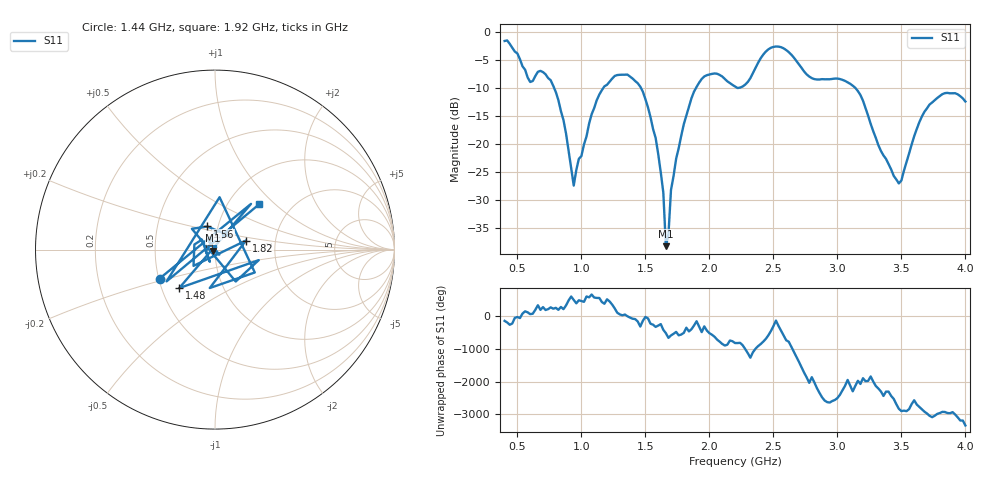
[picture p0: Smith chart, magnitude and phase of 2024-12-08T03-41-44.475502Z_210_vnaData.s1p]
!Created with skrf (http://scikit-rf.org).
# Hz S RI R 50.0
!freq ReS11 ImS11
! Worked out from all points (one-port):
!   181 points, 400 MHz to 4 GHz, reference 50 ohm
!   lowest |S11| = -38.2 dB at 1.66 GHz (marker M1), VSWR 1.02, Z = 48.9 - j0.577 ohm
!   |S11| at or under -10 dB: 786.6 MHz to 1.172 GHz (385.1 MHz wide, 39.3 % of centre); 1.465 GHz to 1.896 GHz (430.8 MHz wide, 25.6 % of centre); 3.14 GHz to end of sweep (the widest 3 of 4)
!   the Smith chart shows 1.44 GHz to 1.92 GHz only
!   S11 on the Smith chart (normalised r, x): 1.44 GHz: 0.51, -0.19; 1.48 GHz: 0.62, -0.29; 1.56 GHz: 0.89, +0.23; 1.82 GHz: 1.41, +0.15; 1.92 GHz: 1.38, +0.80
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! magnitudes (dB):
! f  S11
! 400 MHz  -1.6
! 600 MHz  -9.0
! 680 MHz  -7.0
! 760 MHz  -8.6
! 860 MHz  -15.7
! 940 MHz  -27.4
! 1.12 GHz  -12.2
! 1.3 GHz  -7.7
! 1.44 GHz  -9.2
! 1.48 GHz  -10.7
! 1.56 GHz  -17.3
! 1.64 GHz  -28.7
! 1.66 GHz  -38.2
! 1.68 GHz  -36.1
! 1.7 GHz  -28.2
! 1.76 GHz  -20.8
! 1.82 GHz  -14.9
! 1.92 GHz  -9.1
! 2.06 GHz  -7.5
! 2.2 GHz  -9.7
! 2.48 GHz  -2.9
! 2.66 GHz  -4.6
! 2.8 GHz  -8.3
! 3.1 GHz  -9.3
! 3.48 GHz  -27.0
! 3.56 GHz  -21.7
! 3.72 GHz  -13.0
! 4 GHz  -12.4
